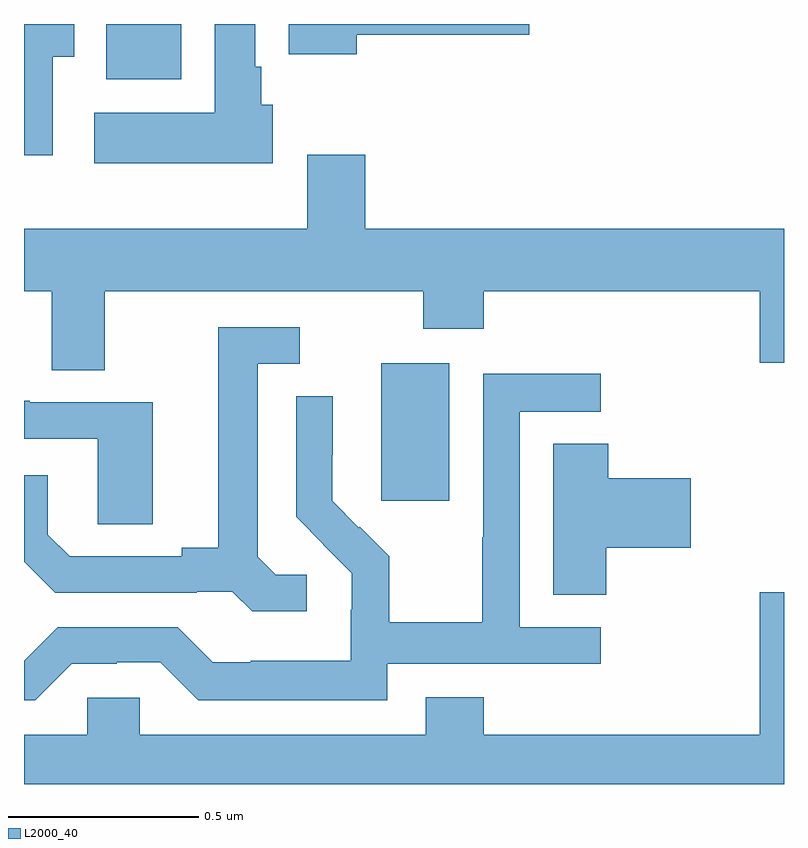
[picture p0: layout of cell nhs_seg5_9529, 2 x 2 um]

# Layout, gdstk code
import gdstk
lib = gdstk.Library(unit=1e-6, precision=1e-09)
def R(c, l, rs):  # rectangles x0, y0, x1, y1
    for r in rs: c.add(gdstk.rectangle(r[:2], r[2:], *l))
def P(c, l, *ps):  # polygons
    for p in ps: c.add(gdstk.Polygon(p, *l))
L2000_40 = (2000, 40)

nhs_seg5_9529 = lib.new_cell('nhs_seg5_9529')
R(nhs_seg5_9529, L2000_40, [(235.94,853.545,236.119,853.906), (235.217,854.654,235.414,854.799)])
P(nhs_seg5_9529, L2000_40, [(235.654,854.586),(235.624,854.586),(235.624,854.686),(235.609,854.686),(235.609,854.799),(235.502,854.799),(235.502,854.566),(235.185,854.566),(235.185,854.432),(235.654,854.432)],
  [(235.876,854.771),(236.329,854.771),(236.329,854.799),(235.697,854.799),(235.697,854.72),(235.876,854.72)],
  [(235.075,854.713),(235.132,854.713),(235.132,854.799),(235,854.799),(235,854.454),(235.075,854.454)],
  [(235.213,854.096),(236.05,854.096),(236.05,853.997),(236.21,853.997),(236.21,854.096),(236.936,854.096),(236.936,853.908),(237,853.908),(237,854.26),(235.898,854.26),(235.898,854.455),(235.745,854.455),(235.745,854.26),(235,854.26),(235,854.096),(235.073,854.096),(235.073,853.888),(235.213,853.888)],
  [(235.744,853.35),(235.662,853.35),(235.615,853.397),(235.615,853.905),(235.726,853.905),(235.726,854.001),(235.511,854.001),(235.511,853.421),(235.415,853.421),(235.415,853.398),(235.12,853.398),(235.063,853.455),(235.063,853.612),(235,853.612),(235,853.384),(235.082,853.302),(235.454,853.302),(235.454,853.305),(235.548,853.305),(235.6,853.253),(235.744,853.253)],
  [(235.956,853.116),(236.518,853.116),(236.518,853.212),(236.304,853.212),(236.304,853.779),(236.518,853.779),(236.518,853.878),(236.208,853.878),(236.208,853.448),(236.206,853.448),(236.206,853.225),(235.961,853.225),(235.961,853.399),(235.884,853.476),(235.881,853.473),(235.811,853.544),(235.811,853.666),(235.812,853.666),(235.812,853.82),(235.716,853.82),(235.716,853.502),(235.789,853.429),(235.788,853.428),(235.862,853.354),(235.862,853.257),(235.86,853.257),(235.86,853.123),(235.597,853.123),(235.597,853.119),(235.497,853.119),(235.404,853.212),(235.089,853.212),(235,853.123),(235,853.02),(235.029,853.02),(235.125,853.116),(235.244,853.116),(235.244,853.119),(235.359,853.119),(235.459,853.019),(235.956,853.019)],
  [(235.339,853.803),(235.015,853.803),(235.015,853.807),(235,853.807),(235,853.707),(235.194,853.707),(235.194,853.483),(235.339,853.483)],
  [(236.532,853.421),(236.755,853.421),(236.755,853.604),(236.537,853.604),(236.537,853.694),(236.393,853.694),(236.393,853.297),(236.532,853.297)],
  [(237,853.303),(236.936,853.303),(236.936,852.928),(236.21,852.928),(236.21,853.027),(236.057,853.027),(236.057,852.928),(235.305,852.928),(235.305,853.026),(235.167,853.026),(235.167,852.928),(235,852.928),(235,852.799),(237,852.799)])

lib.write_gds('nhs_seg5_9529.gds')
